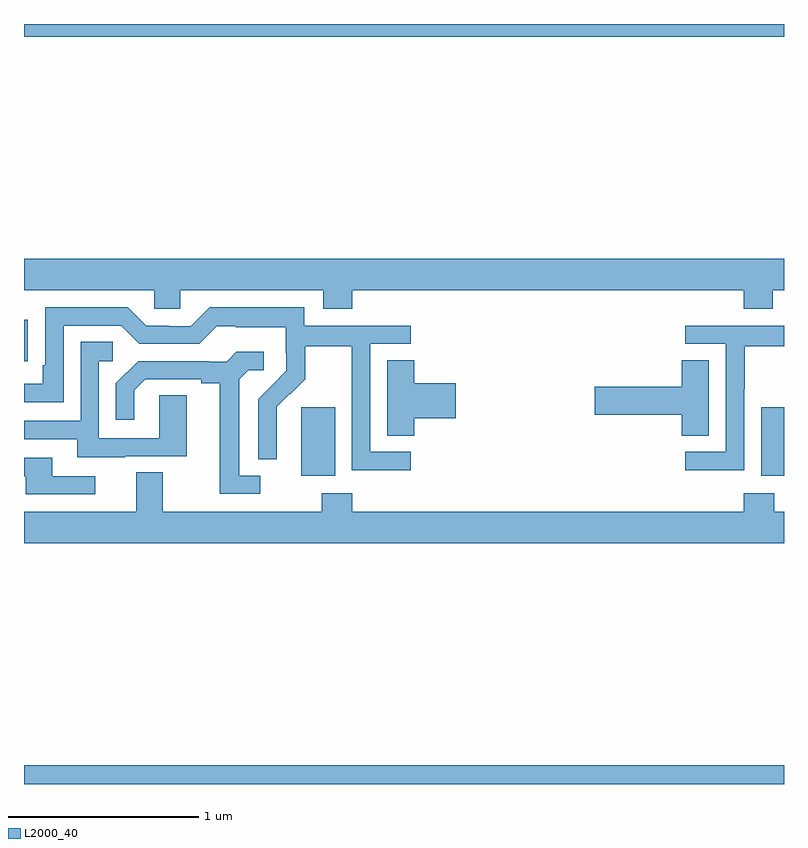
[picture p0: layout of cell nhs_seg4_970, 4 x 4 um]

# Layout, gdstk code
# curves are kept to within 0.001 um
import gdstk
lib = gdstk.Library(unit=1e-6, precision=1e-09)
def R(c, l, rs):  # rectangles x0, y0, x1, y1
    for r in rs: c.add(gdstk.rectangle(r[:2], r[2:], *l))
def P(c, l, *ps):  # polygons
    for p in ps: c.add(gdstk.Polygon(p, *l))
L2000_40 = (2000, 40)

nhs_seg4_970 = lib.new_cell('nhs_seg4_970')
R(nhs_seg4_970, L2000_40, [(161,780.9,165,781), (162.458,782.522,162.637,782.883), (164.879,782.522,165,782.883), (161,783.124,161.021,783.343), (161,784.832,165,784.9)])
P(nhs_seg4_970, L2000_40, [(162.728,783.5),(164.789,783.5),(164.789,783.401),(164.941,783.401),(164.941,783.5),(165,783.5),(165,783.664),(161,783.664),(161,783.5),(161.685,783.5),(161.685,783.402),(161.823,783.402),(161.823,783.5),(162.575,783.5),(162.575,783.401),(162.728,783.401)],
  [(163.036,782.649),(162.822,782.649),(162.822,783.216),(163.036,783.216),(163.036,783.312),(162.474,783.312),(162.474,783.409),(161.977,783.409),(161.877,783.309),(161.762,783.309),(161.762,783.312),(161.643,783.312),(161.547,783.408),(161.112,783.408),(161.112,783.103),(161.099,783.103),(161.099,783.006),(161,783.006),(161,782.91),(161.208,782.91),(161.208,783.312),(161.511,783.312),(161.607,783.216),(161.922,783.216),(162.015,783.309),(162.115,783.309),(162.115,783.305),(162.378,783.305),(162.378,783.171),(162.38,783.171),(162.38,783.074),(162.234,782.926),(162.234,782.608),(162.33,782.608),(162.329,782.885),(162.399,782.955),(162.402,782.952),(162.479,783.029),(162.479,783.204),(162.724,783.204),(162.724,782.98),(162.726,782.98),(162.726,782.551),(163.036,782.551)],
  [(164.79,782.98),(164.793,782.98),(164.793,783.204),(165,783.204),(165,783.312),(164.481,783.312),(164.481,783.216),(164.694,783.216),(164.694,782.649),(164.481,782.649),(164.481,782.551),(164.79,782.551)],
  [(161.533,782.625),(161.857,782.625),(161.857,782.945),(161.712,782.945),(161.712,782.721),(161.394,782.721),(161.394,783.126),(161.467,783.126),(161.467,783.227),(161.298,783.227),(161.298,782.811),(161,782.811),(161,782.715),(161.279,782.715),(161.279,782.621),(161.533,782.621)],
  [(162.244,782.523),(162.133,782.523),(162.133,783.031),(162.18,783.078),(162.262,783.078),(162.262,783.175),(162.118,783.175),(162.066,783.123),(161.972,783.123),(161.972,783.126),(161.6,783.126),(161.484,783.01),(161.484,782.817),(161.581,782.817),(161.581,782.973),(161.638,783.03),(161.933,783.03),(161.933,783.008),(162.029,783.008),(162.029,782.427),(162.244,782.427)],
  [(163.055,782.825),(163.273,782.825),(163.273,783.008),(163.055,783.008),(163.055,783.131),(162.911,783.131),(162.911,782.734),(163.055,782.734)],
  [(164.605,783.131),(164.462,783.131),(164.462,782.99),(164.004,782.99),(164.004,782.843),(164.462,782.843),(164.462,782.734),(164.605,782.734)],
  [(161.374,782.52),(161.149,782.52),(161.149,782.616),(161,782.616),(161,782.52),(161.009,782.52),(161.009,782.424),(161.374,782.424)],
  [(165,782.332),(164.949,782.332),(164.949,782.431),(164.789,782.431),(164.789,782.332),(162.728,782.332),(162.728,782.431),(162.568,782.431),(162.568,782.332),(161.731,782.332),(161.731,782.54),(161.591,782.54),(161.591,782.332),(161,782.332),(161,782.168),(165,782.168)])

lib.write_gds('nhs_seg4_970.gds')
